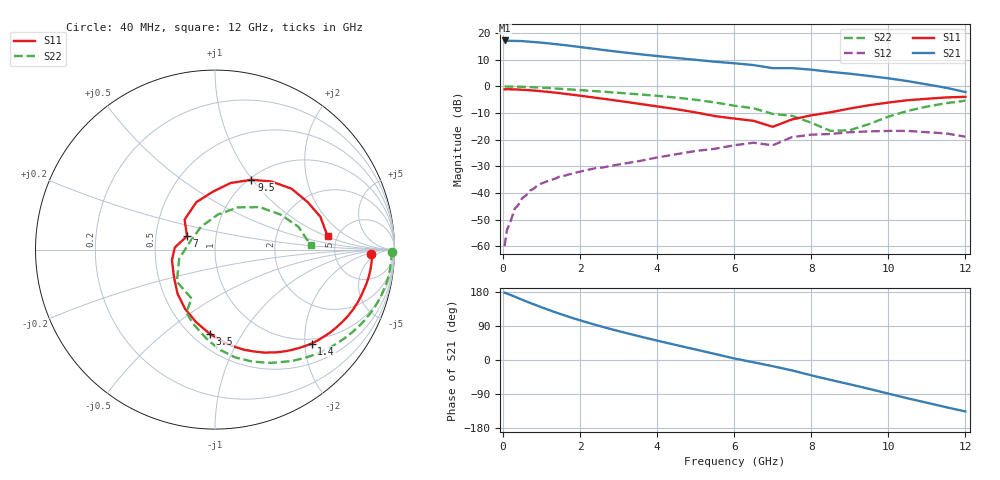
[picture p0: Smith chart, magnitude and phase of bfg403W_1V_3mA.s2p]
! Filename: 13bfg403.001
! BFG403W Field A1
! V1=8.823E-001V,V2=1.000E+000V, I1=4.547E-005A, I2=3.000E-003A
# GHz  S  MA  R 50
!  S11  S21  S12  S22
!Freq(GHz)  Mag  Ang  Mag  Ang  Mag  Ang  Mag  Ang
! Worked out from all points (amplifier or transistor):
!   44 points, 40 MHz to 12 GHz, reference 50 ohm
!   highest |S21| = 17.1 dB at 40 MHz (marker M1)
!   |S21| within 3 dB of that: start of sweep to 2.294 GHz
!   unconditionally stable (mu >= 1): start of sweep to 42.85 MHz; 2.582 GHz to end of sweep
!   at 700 MHz: K = 0.28, MSG = 27.9 dB, |S12| = -39.2 dB
!   at 2.4 GHz: K = 0.91, MSG = 22.4 dB, |S12| = -30.8 dB
!   at 12 GHz: K = 2.58, MAG = 1.4 dB, |S12| = -18.9 dB
!   S11 on the Smith chart (normalised r, x): 40 MHz: 14, -3; 1.4 GHz: 0.90, -2.15; 3.5 GHz: 0.61, -0.74; 7 GHz: 0.72, +0.11; 9.5 GHz: 1.03, +0.99; 12 GHz: 4.17, +1.02
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0.04  0.872 -1.6  7.199 177.7  0.001 51.0  0.984 -0.7
0.1  0.876 -3.5  7.103 175.6  0.002 89.0  0.985 -2.1
0.3  0.87 -10.1  7.06 167.4  0.005 83.2  0.981 -6.7
0.5  0.855 -17.1  6.999 158.7  0.008 77.6  0.973 -11.1
0.8  0.828 -26.6  6.726 146.8  0.012 71.9  0.954 -17.5
1.1  0.791 -35.7  6.436 135.3  0.016 66.7  0.929 -23.6
1.4  0.751 -44.2  6.106 124.5  0.019 62.3  0.901 -29.3
1.8  0.691 -54.9  5.649 110.9  0.023 57.5  0.863 -36.4
2.2  0.635 -64.6  5.196 98.6  0.027 54.2  0.825 -43.2
2.8  0.555 -78.2  4.587 81.5  0.032 50.7  0.769 -52.7
3.5  0.471 -93.4  4.011 63.4  0.039 47.4  0.705 -63.5
4  0.418 -104.5  3.668 51.1  0.046 44.5  0.659 -71.4
4.5  0.37 -116.8  3.379 39.4  0.053 40.4  0.611 -79.4
5.5  0.275 -146.2  2.874 16.0  0.067 29.4  0.496 -95.8
6.5  0.224 176.9  2.486 -6.0  0.087 18.8  0.385 -114.6
7  0.173 154.2  2.176 -16.4  0.078 16.7  0.302 -115.5
7.5  0.238 135.3  2.181 -27.5  0.111 6.7  0.278 -139.8
8  0.284 111.5  2.04 -40.4  0.123 -6.5  0.206 -165.8
8.5  0.324 91.7  1.854 -52.6  0.127 -17.5  0.145 161.3
9.5  0.439 62.4  1.553 -76.2  0.142 -40.3  0.195 85.7
10.5  0.545 38.5  1.245 -101.1  0.145 -65.8  0.344 43.4
12  0.632 6.7  0.776 -135.8  0.113 -109.4  0.534 2.7
